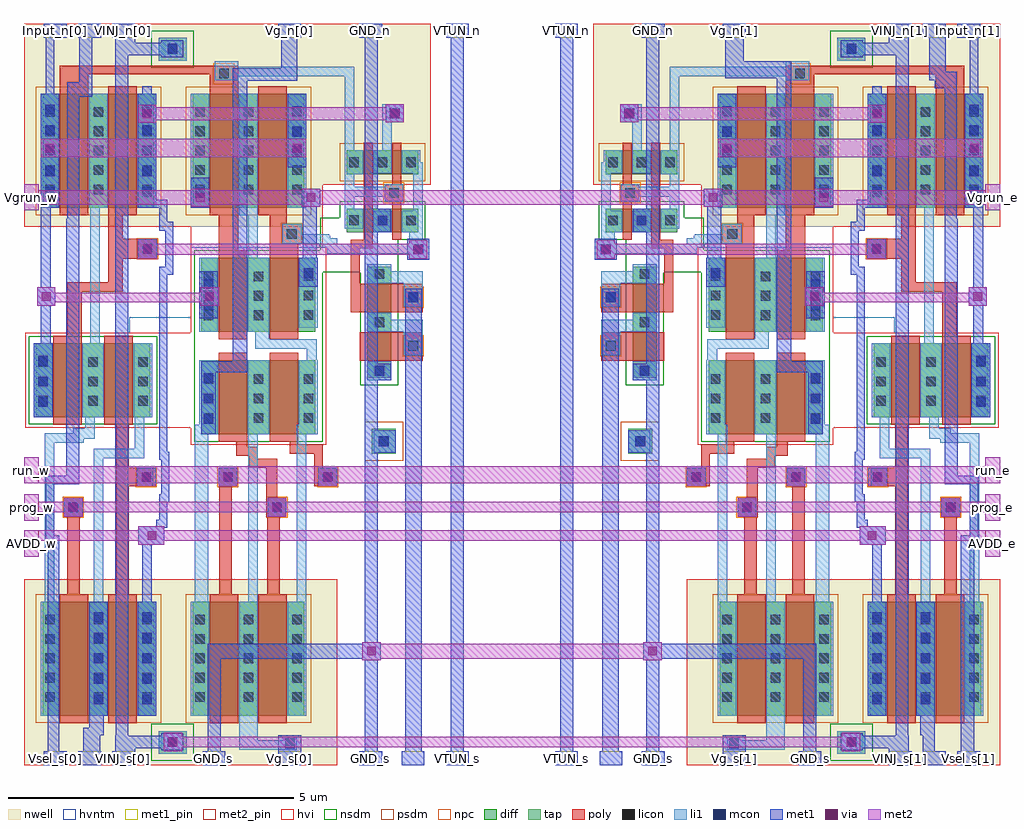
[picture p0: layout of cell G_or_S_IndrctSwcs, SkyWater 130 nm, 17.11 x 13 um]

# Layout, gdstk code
import gdstk
lib = gdstk.Library(unit=1e-6, precision=1e-09)
def R(c, l, rs):  # rectangles x0, y0, x1, y1
    for r in rs: c.add(gdstk.rectangle(r[:2], r[2:], *l))
def A(c, l, x, y, w, h, nx, ny, dx, dy):  # array of equal rectangles
    R(c, l, [(x+i*dx, y+j*dy, x+i*dx+w, y+j*dy+h) for i in range(nx) for j in range(ny)])
nwell = (64, 20)
diff = (65, 20)
tap = (65, 44)
poly = (66, 20)
licon = (66, 44)
li1 = (67, 20)
mcon = (67, 44)
met1_pin = (68, 16)
met1 = (68, 20)
via = (68, 44)
met2_pin = (69, 16)
met2 = (69, 20)
hvi = (75, 20)
nsdm = (93, 44)
psdm = (94, 20)
npc = (95, 20)
hvntm = (125, 20)

g_or_s_indrctswcs = lib.new_cell('G_or_S_IndrctSwcs')
R(g_or_s_indrctswcs, nwell, [(2.89,-0.44,8.38,2.82), (14.51,-0.44,20,2.82), (2.89,9,8.13,9.74), (14.76,9,20,9.74), (2.89,9.74,10.02,12.56), (12.87,9.74,20,12.56)])
R(g_or_s_indrctswcs, diff, [(3.22,0.43,5.17,2.43), (5.85,0.43,7.8,2.43), (15.09,0.43,17.04,2.43), (17.72,0.43,19.67,2.43), (6,5.36,8,6.66), (14.89,5.36,16.89,6.66), (3.1,5.66,5.1,6.96), (17.79,5.66,19.79,6.96), (8.91,6.35,9.33,8.3), (13.56,6.35,13.98,8.3), (6,7.16,8,8.46), (14.89,7.16,16.89,8.46), (8.55,8.9,9.8,9.32), (13.09,8.9,14.34,9.32), (3.22,9.33,5.17,11.33), (5.85,9.33,7.8,11.33), (15.09,9.33,17.04,11.33), (17.72,9.33,19.67,11.33), (8.55,9.92,9.8,10.34), (13.09,9.92,14.34,10.34)])
R(g_or_s_indrctswcs, tap, [(5.25,-0.24,5.74,0.16), (17.15,-0.24,17.64,0.16), (8.99,5.02,9.41,5.46), (13.48,5.02,13.9,5.46), (5.25,11.91,5.74,12.31), (17.15,11.91,17.64,12.31)])
R(g_or_s_indrctswcs, poly, [(3.52,0.3,4.02,2.56), (4.37,0.3,4.87,2.56), (6.15,0.3,6.65,2.56), (7,0.3,7.5,2.56), (15.39,0.3,15.89,2.56), (16.24,0.3,16.74,2.56), (18.02,0.3,18.52,2.56), (18.87,0.3,19.37,2.56), (3.65,2.56,3.87,3.92), (4.51,2.56,4.73,4.45), (6.31,2.56,6.53,4.45), (7.15,2.56,7.37,3.91), (15.52,2.56,15.74,3.91), (16.36,2.56,16.58,4.45), (18.16,2.56,18.38,4.45), (19.02,2.56,19.24,3.92), (7.14,3.91,7.37,3.92), (15.52,3.91,15.75,3.92), (3.59,3.92,3.92,4.25), (7.14,3.92,7.49,4.25), (15.4,3.92,15.75,4.25), (18.97,3.92,19.3,4.25), (7.14,4.25,7.33,4.78), (15.56,4.25,15.75,4.78), (4.51,4.45,5.2,4.78), (6.3,4.45,6.63,4.78), (7.98,4.45,8.38,4.78), (14.51,4.45,14.91,4.78), (16.26,4.45,16.59,4.78), (17.69,4.45,18.38,4.78), (4.51,4.78,4.73,5.53), (6.84,4.78,7.33,4.93), (7.98,4.78,8.13,5.02), (14.76,4.78,14.91,5.02), (15.56,4.78,16.05,4.93), (18.16,4.78,18.38,5.53), (6.84,4.93,6.99,4.99), (15.9,4.93,16.05,4.99), (6.61,4.99,6.99,5.14), (15.9,4.99,16.28,5.14), (7.55,5.02,8.13,5.19), (14.76,5.02,15.34,5.19), (6.61,5.14,6.8,5.23), (16.09,5.14,16.28,5.23), (7.55,5.19,7.7,5.23), (15.19,5.19,15.34,5.23), (6.3,5.23,6.8,6.79), (7.2,5.23,7.7,6.79), (15.19,5.23,15.69,6.79), (16.09,5.23,16.59,6.79), (3.4,5.53,3.9,7.09), (4.3,5.53,4.8,7.09), (18.09,5.53,18.59,7.09), (18.99,5.53,19.49,7.09), (8.78,6.65,9.88,7.15), (13.01,6.65,14.11,7.15), (6.3,7.03,6.8,8.59), (7.2,7.03,7.7,8.7), (15.19,7.03,15.69,8.7), (16.09,7.03,16.59,8.59), (3.65,7.09,3.9,7.86), (18.99,7.09,19.24,7.86), (8.62,7.5,9.88,8), (13.01,7.5,14.27,8), (3.65,7.86,4.62,8.03), (18.27,7.86,19.24,8.03), (8.62,8,8.78,8.62), (14.11,8,14.27,8.62), (4.37,8.03,4.62,8.44), (18.27,8.03,18.52,8.44), (4.37,8.44,5.22,8.79), (17.67,8.44,18.52,8.79), (6.3,8.59,6.65,9.2), (16.24,8.59,16.59,9.2), (8.62,8.62,9,8.77), (13.89,8.62,14.27,8.77), (7.2,8.7,7.76,9.05), (15.13,8.7,15.69,9.05), (8.85,8.77,9,10.47), (9.35,8.77,9.5,9.45), (13.39,8.77,13.54,9.45), (13.89,8.77,14.04,10.47), (4.37,8.79,4.62,9.2), (18.27,8.79,18.52,9.2), (7.2,9.05,7.5,9.2), (15.39,9.05,15.69,9.2), (3.52,9.2,4.02,11.67), (4.37,9.2,4.87,11.46), (6.15,9.2,6.65,11.67), (7,9.2,7.5,11.46), (15.39,9.2,15.89,11.46), (16.24,9.2,16.74,11.67), (18.02,9.2,18.52,11.46), (18.87,9.2,19.37,11.67), (9.21,9.45,9.54,9.74), (13.35,9.45,13.68,9.74), (9.35,9.74,9.5,10.47), (13.39,9.74,13.54,10.47), (3.52,11.67,6.65,11.82), (16.24,11.67,19.37,11.82)])
A(g_or_s_indrctswcs, licon, 3.26, 0.67, 0.17, 0.17, 3, 5, 0.85, 0.34)
A(g_or_s_indrctswcs, licon, 5.89, 0.67, 0.17, 0.17, 3, 5, 0.85, 0.34)
A(g_or_s_indrctswcs, licon, 15.13, 0.67, 0.17, 0.17, 3, 5, 0.85, 0.34)
A(g_or_s_indrctswcs, licon, 17.76, 0.67, 0.17, 0.17, 3, 5, 0.85, 0.34)
A(g_or_s_indrctswcs, licon, 6.04, 5.565, 0.17, 0.17, 3, 3, 0.875, 0.34)
A(g_or_s_indrctswcs, licon, 14.93, 5.565, 0.17, 0.17, 3, 3, 0.875, 0.34)
A(g_or_s_indrctswcs, licon, 3.14, 5.865, 0.17, 0.17, 3, 3, 0.875, 0.34)
A(g_or_s_indrctswcs, licon, 17.83, 5.865, 0.17, 0.17, 3, 3, 0.875, 0.34)
A(g_or_s_indrctswcs, licon, 9.035, 6.39, 0.17, 0.17, 1, 3, 0, 0.85)
A(g_or_s_indrctswcs, licon, 13.685, 6.39, 0.17, 0.17, 1, 3, 0, 0.85)
A(g_or_s_indrctswcs, licon, 6.04, 7.365, 0.17, 0.17, 1, 3, 0, 0.34)
A(g_or_s_indrctswcs, licon, 6.915, 7.365, 0.17, 0.17, 1, 3, 0, 0.34)
A(g_or_s_indrctswcs, licon, 15.805, 7.365, 0.17, 0.17, 1, 3, 0, 0.34)
A(g_or_s_indrctswcs, licon, 16.68, 7.365, 0.17, 0.17, 1, 3, 0, 0.34)
A(g_or_s_indrctswcs, licon, 7.79, 7.37, 0.17, 0.17, 1, 3, 0, 0.34)
A(g_or_s_indrctswcs, licon, 14.93, 7.37, 0.17, 0.17, 1, 3, 0, 0.34)
A(g_or_s_indrctswcs, licon, 3.26, 9.57, 0.17, 0.17, 3, 5, 0.85, 0.34)
A(g_or_s_indrctswcs, licon, 5.89, 9.57, 0.17, 0.17, 3, 5, 0.85, 0.34)
A(g_or_s_indrctswcs, licon, 15.13, 9.57, 0.17, 0.17, 3, 5, 0.85, 0.34)
A(g_or_s_indrctswcs, licon, 17.76, 9.57, 0.17, 0.17, 3, 5, 0.85, 0.34)
A(g_or_s_indrctswcs, licon, 8.59, 10.045, 0.17, 0.17, 3, 1, 0.5, 0)
A(g_or_s_indrctswcs, licon, 13.13, 10.045, 0.17, 0.17, 3, 1, 0.5, 0)
R(g_or_s_indrctswcs, licon, [(5.41,-0.115,5.58,0.055), (17.31,-0.115,17.48,0.055), (3.67,4,3.84,4.17), (7.24,4,7.41,4.17), (15.48,4,15.65,4.17), (19.05,4,19.22,4.17), (4.95,4.53,5.12,4.7), (6.38,4.53,6.55,4.7), (8.13,4.53,8.3,4.7), (14.59,4.53,14.76,4.7), (16.34,4.53,16.51,4.7), (17.77,4.53,17.94,4.7), (9.11,5.155,9.28,5.325), (13.61,5.155,13.78,5.325), (9.63,6.83,9.8,7), (13.09,6.83,13.26,7), (9.63,7.68,9.8,7.85), (13.09,7.68,13.26,7.85), (4.97,8.53,5.14,8.7), (17.75,8.53,17.92,8.7), (7.5,8.79,7.67,8.96), (15.22,8.79,15.39,8.96), (9.09,9.025,9.26,9.195), (9.59,9.025,9.76,9.195), (13.13,9.025,13.3,9.195), (13.63,9.025,13.8,9.195), (8.59,9.03,8.76,9.2), (14.13,9.03,14.3,9.2), (9.29,9.51,9.46,9.68), (13.43,9.51,13.6,9.68), (6.31,11.6,6.48,11.77), (16.41,11.6,16.58,11.77), (5.41,12.035,5.58,12.205), (17.31,12.035,17.48,12.205)])
A(g_or_s_indrctswcs, li1, 3.18, 0.43, 0.33, 2, 3, 2, 0.85, 8.9)
A(g_or_s_indrctswcs, li1, 17.68, 0.43, 0.33, 2, 3, 2, 0.85, 8.9)
R(g_or_s_indrctswcs, li1, [(5.25,-0.24,5.74,0.16), (17.15,-0.24,17.64,0.16), (6.66,-0.17,7.67,0), (15.22,-0.17,16.23,0), (6.66,0,6.99,2.43), (7.44,0,7.67,0.06), (15.22,0,15.45,0.06), (15.9,0,16.23,2.43), (5.81,0.43,6.14,2.43), (7.51,0.43,7.84,2.43), (15.05,0.43,15.38,2.43), (16.75,0.43,17.08,2.43), (3.25,2.43,3.42,5.21), (4.11,2.43,4.28,4.94), (5.88,2.43,6.12,5.36), (6.82,2.43,6.99,5.36), (7.67,2.43,7.84,5.36), (15.05,2.43,15.22,5.36), (15.9,2.43,16.07,5.36), (16.77,2.43,17.01,5.36), (18.61,2.43,18.78,4.94), (19.47,2.43,19.64,5.21), (3.59,3.92,3.92,4.25), (7.16,3.92,7.49,4.25), (15.4,3.92,15.73,4.25), (18.97,3.92,19.3,4.25), (4.87,4.45,5.2,4.77), (6.3,4.45,6.63,4.78), (8.05,4.45,8.38,4.78), (14.51,4.45,14.84,4.78), (16.26,4.45,16.59,4.78), (17.69,4.45,18.02,4.77), (4.11,4.94,5,5.11), (17.89,4.94,18.78,5.11), (9.02,5.04,9.41,5.43), (13.48,5.04,13.87,5.43), (4.83,5.11,5,5.66), (17.89,5.11,18.06,5.66), (3.25,5.21,3.94,5.28), (18.95,5.21,19.64,5.28), (3.25,5.28,4.13,5.38), (18.76,5.28,19.64,5.38), (5.88,5.36,6.29,5.53), (6.81,5.36,7.19,6.66), (7.67,5.36,8.04,5.53), (14.85,5.36,15.22,5.53), (15.7,5.36,16.08,6.66), (16.6,5.36,17.01,5.53), (3.75,5.38,4.13,5.47), (18.76,5.38,19.14,5.47), (3.96,5.47,4.13,5.66), (18.76,5.47,18.93,5.66), (5.96,5.53,6.29,6.66), (7.71,5.53,8.04,6.66), (14.85,5.53,15.18,6.66), (16.6,5.53,16.93,6.66), (3.06,5.66,3.39,6.96), (3.91,5.66,4.29,6.96), (4.81,5.66,5.14,6.96), (17.75,5.66,18.08,6.96), (18.6,5.66,18.98,6.96), (19.5,5.66,19.83,6.96), (8.91,6.31,9.33,6.64), (13.56,6.31,13.98,6.64), (7.85,6.66,8.02,6.86), (14.87,6.66,15.04,6.86), (9.55,6.75,9.88,7.16), (13.01,6.75,13.34,7.16), (6.94,6.86,8.02,7.03), (14.87,6.86,15.95,7.03), (4.05,6.96,4.22,9.33), (18.67,6.96,18.84,9.33), (6.94,7.03,7.19,7.16), (15.7,7.03,15.95,7.16), (5.96,7.16,6.29,8.46), (6.81,7.16,7.19,8.46), (8.91,7.16,9.88,7.37), (13.01,7.16,13.98,7.37), (15.7,7.16,16.08,8.46), (16.6,7.16,16.93,8.46), (7.71,7.23,8.04,8.46), (14.85,7.23,15.18,8.46), (8.91,7.37,9.33,7.49), (13.56,7.37,13.98,7.49), (9.55,7.6,9.88,8.01), (13.01,7.6,13.34,8.01), (8.91,8.01,9.88,8.22), (13.01,8.01,13.98,8.22), (8.91,8.22,9.33,8.34), (13.56,8.22,13.98,8.34), (9.64,8.44,9.96,8.53), (12.93,8.44,13.25,8.53), (4.89,8.45,5.22,8.78), (17.67,8.45,18,8.78), (6.82,8.46,6.99,9.2), (15.9,8.46,16.07,9.2), (8.21,8.53,9.96,8.63), (12.93,8.53,14.68,8.63), (8.07,8.63,9.96,8.7), (12.93,8.63,14.82,8.7), (7.42,8.7,8.38,8.8), (9.64,8.7,9.96,8.76), (12.93,8.7,13.25,8.76), (14.51,8.7,15.47,8.8), (9.64,8.76,9.88,8.9), (13.01,8.76,13.25,8.9), (7.42,8.8,8.26,8.84), (14.63,8.8,15.47,8.84), (7.42,8.84,8.24,8.87), (14.65,8.84,15.47,8.87), (7.42,8.87,7.76,9.05), (15.13,8.87,15.47,9.05), (9.01,8.9,9.34,9.28), (9.51,8.9,9.88,9.28), (13.01,8.9,13.38,9.28), (13.55,8.9,13.88,9.28), (8.51,8.97,8.84,9.32), (14.05,8.97,14.38,9.32), (6.66,9.2,6.99,11.33), (15.9,9.2,16.23,11.33), (9.71,9.28,9.88,9.94), (13.01,9.28,13.18,9.94), (8.51,9.32,8.68,9.53), (14.21,9.32,14.38,9.53), (5.81,9.33,6.14,11.33), (7.51,9.33,7.84,11.33), (15.05,9.33,15.38,11.33), (16.75,9.33,17.08,11.33), (9.21,9.45,9.54,9.53), (13.35,9.45,13.68,9.53), (8.51,9.53,9.54,9.7), (13.35,9.53,14.38,9.7), (8.51,9.7,8.68,9.92), (9.21,9.7,9.54,9.75), (13.35,9.7,13.68,9.75), (14.21,9.7,14.38,9.92), (8.51,9.92,8.84,10.34), (14.05,9.92,14.38,10.34), (9.01,9.94,9.34,10.34), (9.51,9.94,9.88,10.13), (13.01,9.94,13.38,10.13), (13.55,9.94,13.88,10.34), (9.51,10.13,9.84,10.34), (13.05,10.13,13.38,10.34), (8.51,10.34,8.68,11.64), (9.17,10.34,9.34,10.83), (13.55,10.34,13.72,10.83), (14.21,10.34,14.38,11.64), (9.17,10.83,9.55,11.15), (13.34,10.83,13.72,11.15), (6.23,11.57,6.65,11.64), (16.24,11.57,16.66,11.64), (6.23,11.64,8.68,11.81), (14.21,11.64,16.66,11.81), (6.23,11.81,6.65,11.9), (16.24,11.81,16.66,11.9), (5.25,11.91,5.74,12.31), (17.15,11.91,17.64,12.31)])
A(g_or_s_indrctswcs, mcon, 4.11, 0.63, 0.17, 0.17, 1, 5, 0, 0.36)
A(g_or_s_indrctswcs, mcon, 4.96, 0.63, 0.17, 0.17, 1, 5, 0, 0.36)
A(g_or_s_indrctswcs, mcon, 17.76, 0.63, 0.17, 0.17, 1, 5, 0, 0.36)
A(g_or_s_indrctswcs, mcon, 18.61, 0.63, 0.17, 0.17, 1, 5, 0, 0.36)
A(g_or_s_indrctswcs, mcon, 6.04, 5.545, 0.17, 0.17, 1, 3, 0, 0.36)
A(g_or_s_indrctswcs, mcon, 16.68, 5.545, 0.17, 0.17, 1, 3, 0, 0.36)
A(g_or_s_indrctswcs, mcon, 3.14, 5.845, 0.17, 0.17, 1, 3, 0, 0.36)
A(g_or_s_indrctswcs, mcon, 19.58, 5.845, 0.17, 0.17, 1, 3, 0, 0.36)
A(g_or_s_indrctswcs, mcon, 3.26, 9.53, 0.17, 0.17, 1, 5, 0, 0.36)
A(g_or_s_indrctswcs, mcon, 4.96, 9.53, 0.17, 0.17, 1, 5, 0, 0.36)
A(g_or_s_indrctswcs, mcon, 17.76, 9.53, 0.17, 0.17, 1, 5, 0, 0.36)
A(g_or_s_indrctswcs, mcon, 19.46, 9.53, 0.17, 0.17, 1, 5, 0, 0.36)
A(g_or_s_indrctswcs, mcon, 7.59, 10.22, 0.17, 0.17, 1, 3, 0, 0.36)
A(g_or_s_indrctswcs, mcon, 15.13, 10.22, 0.17, 0.17, 1, 3, 0, 0.36)
R(g_or_s_indrctswcs, mcon, [(7.47,-0.14,7.64,0.03), (15.25,-0.14,15.42,0.03), (5.41,-0.115,5.58,0.055), (17.31,-0.115,17.48,0.055), (3.67,4,3.84,4.17), (7.24,4,7.41,4.17), (15.48,4,15.65,4.17), (19.05,4,19.22,4.17), (4.95,4.53,5.12,4.7), (6.38,4.53,6.55,4.7), (8.13,4.53,8.3,4.7), (14.59,4.53,14.76,4.7), (16.34,4.53,16.51,4.7), (17.77,4.53,17.94,4.7), (9.11,5.155,9.28,5.325), (13.61,5.155,13.78,5.325), (9.035,6.39,9.205,6.56), (13.685,6.39,13.855,6.56), (6.04,7.55,6.21,7.72), (16.68,7.55,16.85,7.72), (9.63,7.68,9.8,7.85), (13.09,7.68,13.26,7.85), (6.04,7.91,6.21,8.08), (16.68,7.91,16.85,8.08), (7.79,8.105,7.96,8.275), (14.93,8.105,15.1,8.275), (9.715,8.52,9.885,8.69), (13.005,8.52,13.175,8.69), (4.97,8.53,5.14,8.7), (17.75,8.53,17.92,8.7), (9.09,9.025,9.26,9.195), (13.63,9.025,13.8,9.195), (5.89,9.505,6.06,9.675), (16.83,9.505,17,9.675), (9.305,10.905,9.475,11.075), (13.415,10.905,13.585,11.075), (5.41,12.035,5.58,12.205), (17.31,12.035,17.48,12.205)])
A(g_or_s_indrctswcs, met1_pin, 3.24, -0.44, 0.4, 0.25, 3, 2, 0.6, 12.75)
A(g_or_s_indrctswcs, met1_pin, 18.05, -0.44, 0.4, 0.25, 3, 2, 0.6, 12.75)
R(g_or_s_indrctswcs, met1_pin, [(6.02,-0.44,6.42,-0.19), (7.35,-0.44,7.75,-0.19), (8.77,-0.44,9.17,-0.19), (9.51,-0.44,9.91,-0.19), (10.29,-0.44,10.69,-0.19), (12.2,-0.44,12.6,-0.19), (12.98,-0.44,13.38,-0.19), (13.72,-0.44,14.12,-0.19), (15.14,-0.44,15.54,-0.19), (16.47,-0.44,16.87,-0.19), (7.35,12.31,7.75,12.56), (8.77,12.31,9.17,12.56), (10.29,12.31,10.69,12.56), (12.2,12.31,12.6,12.56), (13.72,12.31,14.12,12.56), (15.14,12.31,15.54,12.56)])
A(g_or_s_indrctswcs, met1, 3.24, -0.44, 0.4, 0.25, 3, 2, 0.6, 12.75)
A(g_or_s_indrctswcs, met1, 18.05, -0.44, 0.4, 0.25, 3, 2, 0.6, 12.75)
R(g_or_s_indrctswcs, met1, [(6.02,-0.44,6.42,-0.19), (7.35,-0.44,7.75,0.09), (8.77,-0.44,9.17,-0.19), (9.51,-0.44,9.91,-0.19), (10.29,-0.44,10.69,-0.19), (12.2,-0.44,12.6,-0.19), (12.98,-0.44,13.38,-0.19), (13.72,-0.44,14.12,-0.19), (15.14,-0.44,15.54,0.09), (16.47,-0.44,16.87,-0.19), (3.31,-0.19,3.51,3.39), (3.93,-0.19,4.23,0.09), (4.49,-0.19,4.84,-0.14), (6.11,-0.19,6.34,1.43), (8.86,-0.19,9.09,1.4), (9.57,-0.19,9.86,7.91), (10.37,-0.19,10.6,12.31), (12.29,-0.19,12.52,12.31), (13.03,-0.19,13.32,7.91), (13.8,-0.19,14.03,1.4), (16.55,-0.19,16.78,1.43), (18.05,-0.19,18.4,-0.14), (18.65,-0.19,18.86,0.09), (19.31,-0.19,19.55,3.39), (5.3,-0.18,5.68,-0.14), (17.21,-0.18,17.59,-0.14), (4.49,-0.14,5.68,0.08), (17.21,-0.14,18.4,0.08), (4.49,0.08,4.72,0.09), (5.3,0.08,5.68,0.12), (17.21,0.08,17.59,0.12), (18.17,0.08,18.4,0.09), (3.93,0.09,4.29,0.22), (4.5,0.09,4.72,2.58), (18.17,0.09,18.39,2.58), (18.6,0.09,18.86,0.43), (4.03,0.22,4.29,0.43), (4.03,0.43,4.36,2.43), (4.88,0.43,5.21,2.43), (17.68,0.43,18.01,2.43), (18.53,0.43,18.86,2.43), (8.82,1.4,9.14,1.43), (13.75,1.4,14.07,1.43), (6.11,1.43,9.14,1.69), (13.75,1.43,16.78,1.69), (8.82,1.69,9.14,1.72), (13.75,1.69,14.07,1.72), (8.86,1.72,9.09,5.04), (13.8,1.72,14.03,5.04), (4.96,2.43,5.13,3.43), (17.76,2.43,17.93,3.43), (4.49,2.58,4.72,12.01), (18.17,2.58,18.4,12.01), (3.27,3.39,3.51,3.59), (19.31,3.39,19.62,3.59), (4.89,3.43,5.35,3.72), (17.54,3.43,18,3.72), (3.27,3.59,3.42,4.49), (19.47,3.59,19.62,4.49), (4.89,3.72,5.4,3.75), (17.49,3.72,18,3.75), (5.21,3.75,5.4,3.86), (17.49,3.75,17.68,3.86), (5.26,3.86,5.4,4.17), (17.49,3.86,17.63,4.17), (3.59,3.92,3.92,4.25), (7.16,3.92,7.49,4.25), (15.4,3.92,15.73,4.25), (18.97,3.92,19.3,4.25), (5.26,4.17,5.44,4.31), (17.45,4.17,17.63,4.31), (5.3,4.31,5.44,4.92), (17.45,4.31,17.59,4.92), (4.87,4.45,5.16,4.78), (6.3,4.45,6.63,4.78), (8.05,4.45,8.38,4.78), (14.51,4.45,14.84,4.78), (16.26,4.45,16.59,4.78), (17.73,4.45,18.02,4.78), (3.27,4.49,3.86,4.64), (19.03,4.49,19.62,4.64), (3.63,4.64,3.86,9.14), (19.03,4.64,19.26,9.14), (5.26,4.92,5.44,5.06), (17.45,4.92,17.63,5.06), (8.86,5.04,9.41,5.43), (13.48,5.04,14.03,5.43), (5.26,5.06,5.4,8.16), (17.49,5.06,17.63,8.16), (6,5.36,6.25,6.45), (16.64,5.36,16.89,6.45), (8.86,5.43,9.09,6.31), (13.8,5.43,14.03,6.31), (3.06,5.66,3.39,6.96), (19.5,5.66,19.83,6.96), (8.86,6.31,9.33,6.6), (13.56,6.31,14.03,6.6), (6,6.45,6.8,6.64), (16.09,6.45,16.89,6.64), (8.86,6.6,9.09,8.9), (13.8,6.6,14.03,8.9), (6.55,6.64,6.8,11.56), (16.09,6.64,16.34,11.6), (3.18,6.96,3.36,7.62), (19.53,6.96,19.71,7.62), (5.96,7.4,6.29,7.62), (16.6,7.4,16.93,7.62), (3.12,7.62,3.44,7.94), (5.96,7.62,6.3,7.94), (16.59,7.62,16.93,7.94), (19.45,7.62,19.77,7.94), (3.18,7.94,3.36,9.33), (5.96,7.94,6.29,8.22), (16.6,7.94,16.93,8.22), (19.53,7.94,19.71,9.33), (7.71,7.95,8.04,8.46), (14.85,7.95,15.18,8.46), (5.26,8.16,5.51,8.3), (17.38,8.16,17.63,8.3), (5.37,8.3,5.51,8.93), (17.38,8.3,17.52,8.93), (9.61,8.42,9.99,8.79), (12.9,8.42,13.28,8.79), (4.88,8.44,5.23,8.79), (17.66,8.44,18.01,8.79), (7.78,8.46,8.02,9.35), (14.87,8.46,15.11,9.35), (8.86,8.9,9.32,9.32), (13.57,8.9,14.03,9.32), (5.26,8.93,5.51,9.09), (17.38,8.93,17.63,9.09), (5.26,9.09,5.4,9.33), (17.49,9.09,17.63,9.33), (3.65,9.14,3.86,11.28), (19.03,9.14,19.24,11.43), (8.86,9.32,9.09,12.31), (13.8,9.32,14.03,12.31), (3.18,9.33,3.51,11.33), (4.88,9.33,5.4,9.47), (5.81,9.33,6.14,9.86), (16.75,9.33,17.08,9.86), (17.49,9.33,18.01,9.47), (19.38,9.33,19.71,11.33), (7.76,9.35,8.08,9.67), (14.81,9.35,15.13,9.67), (4.88,9.47,5.21,11.33), (17.68,9.47,18.01,11.33), (7.51,10.04,7.84,11.33), (15.05,10.04,15.38,11.33), (9.23,10.83,9.55,11.15), (13.34,10.83,13.66,11.15), (3.65,11.28,4.09,11.53), (3.27,11.33,3.42,12.31), (4.96,11.33,5.13,11.46), (17.76,11.33,17.93,11.46), (19.47,11.33,19.62,12.31), (18.86,11.43,19.24,11.57), (3.86,11.53,4.09,12.31), (6.55,11.56,7.68,11.78), (18.76,11.57,19.24,11.72), (15.18,11.6,16.34,11.9), (18.76,11.72,19.05,12.31), (7.4,11.78,7.68,12.31), (15.18,11.9,15.51,12.31), (5.3,11.97,5.68,12.01), (17.21,11.97,17.59,12.01), (4.49,12.01,5.68,12.23), (17.21,12.01,18.4,12.23), (4.49,12.23,4.84,12.31), (5.3,12.23,5.68,12.27), (17.21,12.23,17.59,12.27), (18.05,12.23,18.4,12.31), (7.35,12.31,7.75,12.56), (8.77,12.31,9.17,12.56), (10.29,12.31,10.69,12.56), (12.2,12.31,12.6,12.56), (13.72,12.31,14.12,12.56), (15.14,12.31,15.54,12.56)])
R(g_or_s_indrctswcs, via, [(5.425,-0.105,5.575,0.045), (17.315,-0.105,17.465,0.045), (8.905,1.485,9.055,1.635), (13.835,1.485,13.985,1.635), (5.06,3.515,5.21,3.665), (17.68,3.515,17.83,3.665), (3.675,4.005,3.825,4.155), (7.245,4.005,7.395,4.155), (15.495,4.005,15.645,4.155), (19.065,4.005,19.215,4.155), (4.955,4.535,5.105,4.685), (6.385,4.535,6.535,4.685), (8.135,4.535,8.285,4.685), (14.605,4.535,14.755,4.685), (16.355,4.535,16.505,4.685), (17.785,4.535,17.935,4.685), (3.205,7.705,3.355,7.855), (6.065,7.705,6.215,7.855), (16.675,7.705,16.825,7.855), (19.535,7.705,19.685,7.855), (9.725,8.525,9.875,8.675), (13.015,8.525,13.165,8.675), (4.98,8.54,5.13,8.69), (17.76,8.54,17.91,8.69), (5.905,9.435,6.055,9.585), (7.845,9.435,7.995,9.585), (14.895,9.435,15.045,9.585), (16.835,9.435,16.985,9.585), (3.265,10.305,3.415,10.455), (7.605,10.305,7.755,10.455), (15.135,10.305,15.285,10.455), (19.475,10.305,19.625,10.455), (4.975,10.905,5.125,11.055), (17.765,10.905,17.915,11.055), (9.315,10.915,9.465,11.065), (13.425,10.915,13.575,11.065)])
R(g_or_s_indrctswcs, met2_pin, [(2.89,3.22,3.15,3.68), (19.74,3.22,20,3.68), (2.89,3.85,3.15,4.31), (19.74,3.85,20,4.31), (2.89,4.5,3.15,4.96), (19.74,4.5,20,4.96), (2.89,9.29,3.15,9.75), (19.74,9.29,20,9.75)])
R(g_or_s_indrctswcs, met2, [(5.34,-0.19,5.66,-0.12), (17.23,-0.19,17.55,-0.12), (5.34,-0.12,17.55,0.06), (5.34,0.06,5.66,0.13), (17.23,0.06,17.55,0.13), (8.82,1.4,9.14,1.43), (13.75,1.4,14.07,1.43), (8.82,1.43,14.07,1.69), (8.82,1.69,9.14,1.72), (13.75,1.69,14.07,1.72), (2.89,3.22,3.15,3.5), (19.74,3.22,20,3.5), (4.89,3.43,5.35,3.5), (17.54,3.43,18,3.5), (2.89,3.5,20,3.68), (4.89,3.68,5.35,3.75), (17.54,3.68,18,3.75), (2.89,3.85,3.15,4), (19.74,3.85,20,4), (3.59,3.92,3.92,4), (7.16,3.92,7.49,4), (15.4,3.92,15.73,4), (18.97,3.92,19.3,4), (2.89,4,20,4.18), (2.89,4.18,3.15,4.31), (3.59,4.18,3.92,4.25), (7.16,4.18,7.49,4.25), (15.4,4.18,15.73,4.25), (18.97,4.18,19.3,4.25), (19.74,4.18,20,4.31), (4.87,4.45,5.2,4.5), (6.3,4.45,6.63,4.5), (8.05,4.45,8.38,4.5), (14.51,4.45,14.84,4.5), (16.26,4.45,16.59,4.5), (17.69,4.45,18.02,4.5), (2.89,4.5,20,4.8), (2.89,4.8,3.15,4.96), (19.74,4.8,20,4.96), (3.12,7.62,3.44,7.68), (5.98,7.62,6.3,7.68), (16.59,7.62,16.91,7.68), (19.45,7.62,19.77,7.68), (3.12,7.68,6.3,7.84), (16.59,7.68,19.77,7.84), (3.12,7.84,3.44,7.94), (5.98,7.84,6.3,7.94), (16.59,7.84,16.91,7.94), (19.45,7.84,19.77,7.94), (4.88,8.44,5.23,8.51), (9.64,8.44,9.96,8.51), (12.93,8.44,13.25,8.51), (17.66,8.44,18.01,8.51), (4.88,8.51,9.96,8.7), (12.93,8.51,18.01,8.7), (4.88,8.7,5.23,8.79), (9.64,8.7,9.96,8.76), (12.93,8.7,13.25,8.76), (17.66,8.7,18.01,8.79), (2.89,9.29,3.15,9.39), (19.74,9.29,20,9.39), (5.82,9.35,6.14,9.39), (7.76,9.35,8.08,9.39), (14.81,9.35,15.13,9.39), (16.75,9.35,17.07,9.39), (2.89,9.39,20,9.64), (2.89,9.64,3.15,9.75), (5.82,9.64,6.14,9.67), (7.76,9.64,8.08,9.67), (14.81,9.64,15.13,9.67), (16.75,9.64,17.07,9.67), (19.74,9.64,20,9.75), (3.18,10.22,7.84,10.54), (15.05,10.22,19.71,10.54), (4.89,10.82,5.21,10.87), (17.68,10.82,18,10.87), (9.23,10.83,9.55,10.87), (13.34,10.83,13.66,10.87), (4.89,10.87,9.55,11.1), (13.34,10.87,18,11.1), (4.89,11.1,5.21,11.14), (9.23,11.1,9.55,11.15), (13.34,11.1,13.66,11.15), (17.68,11.1,18,11.14)])
R(g_or_s_indrctswcs, hvi, [(2.89,-0.44,8.38,2.82), (14.51,-0.44,20,2.82), (5.815,5.175,8.185,5.475), (14.705,5.175,17.075,5.475), (2.915,5.475,8.185,7.145), (14.705,5.475,19.975,7.145), (5.815,7.145,8.185,8.645), (14.705,7.145,17.075,8.645), (5.815,8.645,8.13,9), (14.76,8.645,17.075,9), (2.89,9,8.13,9.74), (14.76,9,20,9.74), (2.89,9.74,10.02,12.56), (12.87,9.74,20,12.56)])
R(g_or_s_indrctswcs, nsdm, [(5.125,-0.365,5.865,0.285), (17.025,-0.365,17.765,0.285), (5.875,5.235,8.125,8.205), (14.765,5.235,17.015,8.205), (2.975,5.535,5.225,7.085), (17.665,5.535,19.915,7.085), (8.785,6.225,9.455,8.205), (13.435,6.225,14.105,8.205), (5.875,8.205,9.455,8.585), (13.435,8.205,17.015,8.585), (8.085,8.585,9.455,8.775), (13.435,8.585,14.805,8.775), (8.085,8.775,9.925,9.155), (12.965,8.775,14.805,9.155), (8.425,9.155,9.925,9.445), (12.965,9.155,14.465,9.445), (5.125,11.785,5.865,12.435), (17.025,11.785,17.765,12.435)])
R(g_or_s_indrctswcs, psdm, [(3.095,0.305,5.295,2.555), (5.725,0.305,7.925,2.555), (14.965,0.305,17.165,2.555), (17.595,0.305,19.795,2.555), (8.865,4.895,9.535,5.585), (13.355,4.895,14.025,5.585), (3.095,9.205,5.295,11.455), (5.725,9.205,7.925,11.455), (14.965,9.205,17.165,11.455), (17.595,9.205,19.795,11.455), (8.425,9.795,9.925,10.465), (12.965,9.795,14.465,10.465)])
R(g_or_s_indrctswcs, npc, [(3.57,3.9,3.94,4.27), (7.14,3.9,7.51,4.27), (15.38,3.9,15.75,4.27), (18.95,3.9,19.32,4.27), (4.85,4.43,5.22,4.8), (6.28,4.43,6.65,4.8), (8.03,4.43,8.4,4.8), (14.49,4.43,14.86,4.8), (16.24,4.43,16.61,4.8), (17.67,4.43,18.04,4.8), (9.53,6.73,9.9,7.1), (12.99,6.73,13.36,7.1), (9.53,7.58,9.9,7.95), (12.99,7.58,13.36,7.95), (4.87,8.43,5.24,8.8), (17.65,8.43,18.02,8.8), (7.4,8.69,7.77,9.06), (15.12,8.69,15.49,9.06), (9.19,9.41,9.56,9.78), (13.33,9.41,13.7,9.78), (6.21,11.5,6.58,11.87), (16.31,11.5,16.68,11.87)])
R(g_or_s_indrctswcs, hvntm, [(5.815,5.175,8.185,5.475), (14.705,5.175,17.075,5.475), (2.915,5.475,8.185,7.145), (14.705,5.475,19.975,7.145), (4.735,7.145,8.185,7.41), (14.705,7.145,18.155,7.41), (5.815,7.41,8.185,8.645), (14.705,7.41,17.075,8.645)])
g_or_s_indrctswcs.add(gdstk.Label('Vsel_s[0]', (3.44,-0.315), layer=68, texttype=5))
g_or_s_indrctswcs.add(gdstk.Label('Vs_s[0]', (4.04,-0.315), layer=68, texttype=5))
g_or_s_indrctswcs.add(gdstk.Label('VINJ_n[0]', (4.64,12.435), layer=68, texttype=5))
g_or_s_indrctswcs.add(gdstk.Label('VINJ_s[0]', (4.64,-0.315), layer=68, texttype=5))
g_or_s_indrctswcs.add(gdstk.Label('GND_s', (6.22,-0.315), layer=68, texttype=5))
g_or_s_indrctswcs.add(gdstk.Label('Vg_n[0]', (7.55,12.435), layer=68, texttype=5))
g_or_s_indrctswcs.add(gdstk.Label('Vg_s[0]', (7.55,-0.315), layer=68, texttype=5))
g_or_s_indrctswcs.add(gdstk.Label('GND_n', (8.97,12.435), layer=68, texttype=5))
g_or_s_indrctswcs.add(gdstk.Label('GND_s', (8.97,-0.315), layer=68, texttype=5))
g_or_s_indrctswcs.add(gdstk.Label('fgmem_s[0]', (9.71,-0.315), layer=68, texttype=5))
g_or_s_indrctswcs.add(gdstk.Label('VTUN_n', (10.49,12.435), layer=68, texttype=5))
g_or_s_indrctswcs.add(gdstk.Label('VTUN_s', (10.49,-0.315), layer=68, texttype=5))
g_or_s_indrctswcs.add(gdstk.Label('VTUN_n', (12.4,12.435), layer=68, texttype=5))
g_or_s_indrctswcs.add(gdstk.Label('VTUN_s', (12.4,-0.315), layer=68, texttype=5))
g_or_s_indrctswcs.add(gdstk.Label('fgmem_s[1]', (13.18,-0.315), layer=68, texttype=5))
g_or_s_indrctswcs.add(gdstk.Label('GND_n', (13.92,12.435), layer=68, texttype=5))
g_or_s_indrctswcs.add(gdstk.Label('GND_s', (13.92,-0.315), layer=68, texttype=5))
g_or_s_indrctswcs.add(gdstk.Label('Vg_n[1]', (15.34,12.435), layer=68, texttype=5))
g_or_s_indrctswcs.add(gdstk.Label('Vg_s[1]', (15.34,-0.315), layer=68, texttype=5))
g_or_s_indrctswcs.add(gdstk.Label('GND_s', (16.67,-0.315), layer=68, texttype=5))
g_or_s_indrctswcs.add(gdstk.Label('VINJ_n[1]', (18.25,12.435), layer=68, texttype=5))
g_or_s_indrctswcs.add(gdstk.Label('VINJ_s[1]', (18.25,-0.315), layer=68, texttype=5))
g_or_s_indrctswcs.add(gdstk.Label('Vs_s[1]', (18.85,-0.315), layer=68, texttype=5))
g_or_s_indrctswcs.add(gdstk.Label('Vsel_s[1]', (19.45,-0.315), layer=68, texttype=5))
g_or_s_indrctswcs.add(gdstk.Label('Vgrun_e', (19.87,9.52), layer=69, texttype=5))
g_or_s_indrctswcs.add(gdstk.Label('Vgrun_w', (3.02,9.52), layer=69, texttype=5))
g_or_s_indrctswcs.add(gdstk.Label('run_e', (19.87,4.73), layer=69, texttype=5))
g_or_s_indrctswcs.add(gdstk.Label('run_w', (3.02,4.73), layer=69, texttype=5))
g_or_s_indrctswcs.add(gdstk.Label('prog_e', (19.87,4.08), layer=69, texttype=5))
g_or_s_indrctswcs.add(gdstk.Label('prog_w', (3.02,4.08), layer=69, texttype=5))
g_or_s_indrctswcs.add(gdstk.Label('AVDD_e', (19.87,3.45), layer=69, texttype=5))
g_or_s_indrctswcs.add(gdstk.Label('AVDD_w', (3.02,3.45), layer=69, texttype=5))
g_or_s_indrctswcs.add(gdstk.Label('Input_n[0]', (3.44,12.435), layer=68, texttype=5))
g_or_s_indrctswcs.add(gdstk.Label('Vsel_n[0]', (4.04,12.435), layer=68, texttype=5))
g_or_s_indrctswcs.add(gdstk.Label('Vsel_n[1]', (18.85,12.435), layer=68, texttype=5))
g_or_s_indrctswcs.add(gdstk.Label('Input_n[1]', (19.45,12.435), layer=68, texttype=5))

lib.write_gds('G_or_S_IndrctSwcs.gds')
